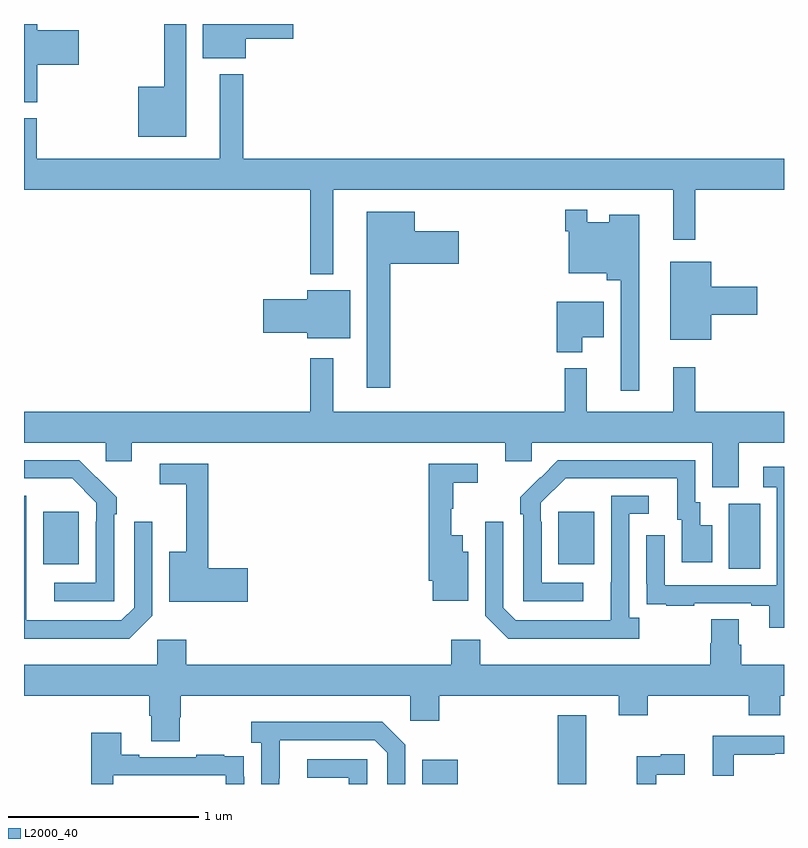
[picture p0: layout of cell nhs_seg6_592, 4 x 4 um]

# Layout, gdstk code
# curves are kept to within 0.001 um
import gdstk
lib = gdstk.Library(unit=1e-6, precision=1e-09)
def R(c, l, rs):  # rectangles x0, y0, x1, y1
    for r in rs: c.add(gdstk.rectangle(r[:2], r[2:], *l))
def P(c, l, *ps):  # polygons
    for p in ps: c.add(gdstk.Polygon(p, *l))
L2000_40 = (2000, 40)

nhs_seg6_592 = lib.new_cell('nhs_seg6_592')
R(nhs_seg6_592, L2000_40, [(149.096,985.5,149.284,985.627), (149.81,985.5,149.959,985.861), (150.71,986.632,150.874,986.976), (147.101,986.657,147.289,986.932), (149.813,986.657,150.001,986.932)])
P(nhs_seg6_592, L2000_40, [(147.071,989.285),(147.289,989.285),(147.289,989.468),(147.071,989.468),(147.071,989.5),(147,989.5),(147,989.089),(147.071,989.089)],
  [(147.853,989.5),(147.739,989.5),(147.739,989.17),(147.602,989.17),(147.602,988.907),(147.853,988.907)],
  [(148.168,989.423),(148.417,989.423),(148.417,989.5),(147.941,989.5),(147.941,989.321),(148.168,989.321)],
  [(148.627,988.628),(150.416,988.628),(150.416,988.365),(150.533,988.365),(150.533,988.628),(151,988.628),(151,988.792),(148.153,988.792),(148.153,989.236),(148.031,989.236),(148.031,988.792),(147.068,988.792),(147.068,989.004),(147,989.004),(147,988.628),(148.506,988.628),(148.506,988.184),(148.627,988.184)],
  [(150.238,988.495),(150.08,988.495),(150.08,988.456),(149.964,988.456),(149.964,988.522),(149.848,988.522),(149.848,988.409),(149.868,988.409),(149.868,988.187),(150.068,988.187),(150.068,988.151),(150.141,988.151),(150.141,987.57),(150.238,987.57)],
  [(148.927,988.238),(149.287,988.238),(149.287,988.408),(149.056,988.408),(149.056,988.513),(148.805,988.513),(148.805,987.585),(148.927,987.585)],
  [(150.616,987.971),(150.859,987.971),(150.859,988.118),(150.616,988.118),(150.616,988.249),(150.401,988.249),(150.401,987.839),(150.616,987.839)],
  [(148.717,988.099),(148.49,988.099),(148.49,988.052),(148.26,988.052),(148.26,987.874),(148.49,987.874),(148.49,987.845),(148.717,987.845)],
  [(149.938,987.851),(150.052,987.851),(150.052,988.039),(149.804,988.039),(149.804,987.773),(149.938,987.773)],
  [(150.763,987.296),(151,987.296),(151,987.46),(150.533,987.46),(150.533,987.694),(150.416,987.694),(150.416,987.46),(149.963,987.46),(149.963,987.688),(149.845,987.688),(149.845,987.46),(148.627,987.46),(148.627,987.742),(148.506,987.742),(148.506,987.46),(147,987.46),(147,987.296),(147.429,987.296),(147.429,987.198),(147.568,987.198),(147.568,987.296),(149.534,987.296),(149.534,987.198),(149.673,987.198),(149.673,987.296),(150.623,987.296),(150.623,987.061),(150.763,987.061)],
  [(149.944,986.559),(149.724,986.559),(149.724,986.879),(149.721,986.879),(149.721,986.979),(149.85,987.108),(150.437,987.108),(150.437,986.892),(150.461,986.892),(150.461,986.667),(150.622,986.667),(150.622,986.863),(150.559,986.863),(150.559,986.982),(150.534,986.982),(150.534,987.204),(149.81,987.204),(149.613,987.009),(149.613,986.921),(149.628,986.921),(149.628,986.463),(149.944,986.463)],
  [(147.474,986.921),(147.489,986.921),(147.489,987.009),(147.292,987.204),(147,987.204),(147,987.108),(147.253,987.108),(147.381,986.979),(147.381,986.879),(147.378,986.879),(147.378,986.559),(147.159,986.559),(147.159,986.463),(147.474,986.463)],
  [(148.177,986.636),(147.971,986.636),(147.971,987.186),(147.714,987.186),(147.714,987.078),(147.854,987.078),(147.854,986.722),(147.764,986.722),(147.764,986.458),(148.177,986.458)],
  [(149.338,986.722),(149.308,986.722),(149.308,986.809),(149.249,986.809),(149.249,986.949),(149.26,986.949),(149.26,987.085),(149.389,987.085),(149.389,987.186),(149.131,987.186),(149.131,986.569),(149.15,986.569),(149.15,986.465),(149.338,986.465)],
  [(151,987.169),(150.891,987.169),(150.891,987.063),(150.963,987.063),(150.963,986.547),(150.372,986.547),(150.372,986.809),(150.276,986.809),(150.276,986.554),(150.277,986.554),(150.277,986.445),(150.379,986.445),(150.379,986.439),(150.527,986.439),(150.527,986.451),(150.827,986.451),(150.827,986.439),(150.923,986.439),(150.923,986.322),(151,986.322)],
  [(147.675,986.385),(147.675,986.881),(147.579,986.881),(147.579,986.427),(147.513,986.361),(147.013,986.361),(147.013,986.561),(147.012,986.561),(147.012,987.018),(147,987.018),(147,986.264),(147.554,986.264)],
  [(150.238,986.374),(150.186,986.374),(150.186,986.922),(150.289,986.922),(150.289,987.018),(150.09,987.018),(150.089,986.361),(149.589,986.361),(149.523,986.427),(149.523,986.881),(149.427,986.881),(149.427,986.385),(149.548,986.264),(150.238,986.264)],
  [(147.819,985.851),(147.824,985.851),(147.824,985.964),(149.034,985.964),(149.034,985.833),(149.186,985.833),(149.186,985.964),(150.131,985.964),(150.131,985.862),(150.284,985.862),(150.284,985.964),(150.815,985.964),(150.815,985.862),(150.98,985.862),(150.98,985.964),(151,985.964),(151,986.128),(150.776,986.128),(150.776,986.234),(150.763,986.234),(150.763,986.366),(150.616,986.366),(150.616,986.241),(150.611,986.241),(150.611,986.128),(149.4,986.128),(149.4,986.26),(149.249,986.26),(149.249,986.128),(147.854,986.128),(147.854,986.26),(147.702,986.26),(147.702,986.128),(147,986.128),(147,985.964),(147.659,985.964),(147.659,985.858),(147.671,985.858),(147.671,985.726),(147.819,985.726)],
  [(148.344,985.531),(148.345,985.731),(148.845,985.731),(148.911,985.665),(148.911,985.5),(149.007,985.5),(149.007,985.707),(148.886,985.828),(148.197,985.828),(148.197,985.718),(148.248,985.718),(148.248,985.5),(148.344,985.5)],
  [(147.471,985.545),(148.062,985.545),(148.062,985.5),(148.158,985.5),(148.158,985.538),(148.157,985.538),(148.157,985.647),(148.055,985.647),(148.055,985.654),(147.907,985.654),(147.907,985.641),(147.607,985.641),(147.607,985.654),(147.511,985.654),(147.511,985.771),(147.355,985.771),(147.355,985.5),(147.471,985.5)],
  [(150.736,985.654),(150.95,985.654),(150.95,985.659),(151,985.659),(151,985.755),(150.626,985.755),(150.626,985.544),(150.736,985.544)],
  [(150.327,985.548),(150.478,985.548),(150.478,985.657),(150.35,985.657),(150.35,985.646),(150.226,985.646),(150.226,985.5),(150.327,985.5)],
  [(148.806,985.629),(148.491,985.629),(148.491,985.533),(148.71,985.533),(148.71,985.5),(148.806,985.5)])

lib.write_gds('nhs_seg6_592.gds')
